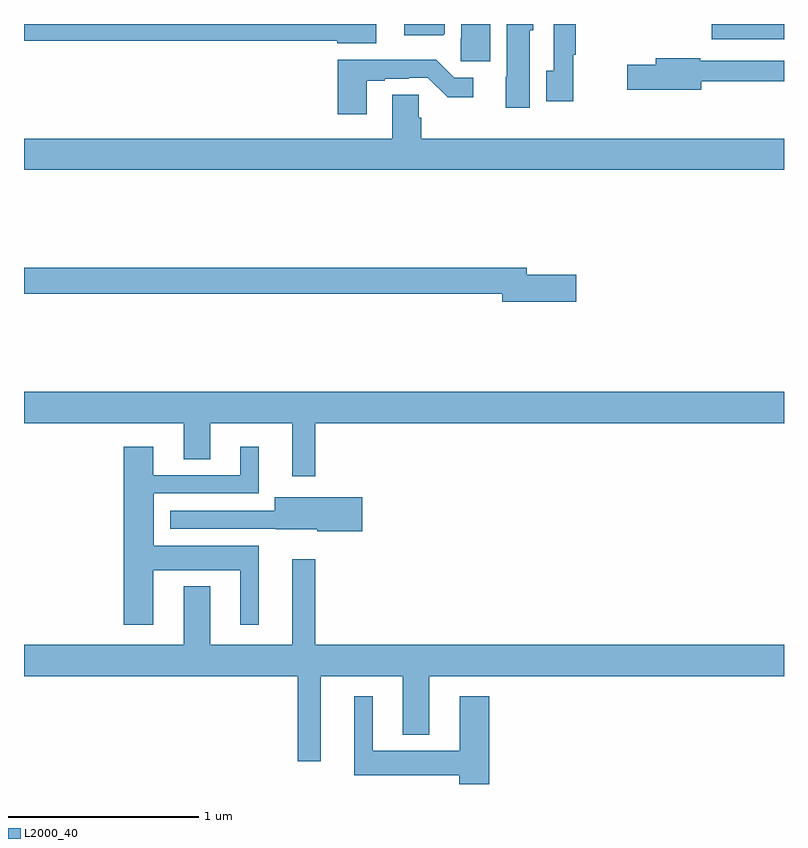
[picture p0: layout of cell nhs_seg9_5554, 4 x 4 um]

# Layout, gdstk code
import gdstk
lib = gdstk.Library(unit=1e-6, precision=1e-09)
def R(c, l, rs):  # rectangles x0, y0, x1, y1
    for r in rs: c.add(gdstk.rectangle(r[:2], r[2:], *l))
def P(c, l, *ps):  # polygons
    for p in ps: c.add(gdstk.Polygon(p, *l))
L2000_40 = (2000, 40)

nhs_seg9_5554 = lib.new_cell('nhs_seg9_5554')
R(nhs_seg9_5554, L2000_40, [(436.62,1218.419,437,1218.5)])
P(nhs_seg9_5554, L2000_40, [(435.661,1218.468),(435.679,1218.468),(435.679,1218.5),(435.542,1218.5),(435.542,1218.222),(435.536,1218.222),(435.536,1218.06),(435.661,1218.06)],
  [(435.454,1218.5),(435.302,1218.5),(435.302,1218.426),(435.298,1218.426),(435.298,1218.303),(435.454,1218.303)],
  [(435.214,1218.448),(435.214,1218.5),(435.002,1218.5),(435.002,1218.44),(435.206,1218.44)],
  [(434.854,1218.5),(433,1218.5),(433,1218.412),(434.648,1218.412),(434.648,1218.398),(434.854,1218.398)],
  [(435.89,1218.337),(435.905,1218.337),(435.905,1218.5),(435.789,1218.5),(435.789,1218.254),(435.749,1218.254),(435.749,1218.093),(435.89,1218.093)],
  [(436.564,1218.198),(437,1218.198),(437,1218.306),(436.56,1218.306),(436.56,1218.319),(436.325,1218.319),(436.325,1218.285),(436.176,1218.285),(436.176,1218.155),(436.564,1218.155)],
  [(434.803,1218.201),(434.899,1218.201),(434.899,1218.213),(435.026,1218.213),(435.026,1218.216),(435.126,1218.216),(435.229,1218.114),(435.364,1218.114),(435.364,1218.216),(435.264,1218.216),(435.169,1218.311),(434.651,1218.311),(434.651,1218.024),(434.803,1218.024)],
  [(437,1217.896),(435.092,1217.896),(435.092,1218.006),(435.078,1218.006),(435.078,1218.128),(434.939,1218.128),(434.939,1217.896),(433,1217.896),(433,1217.732),(437,1217.732)],
  [(435.907,1217.18),(435.646,1217.18),(435.646,1217.216),(433,1217.216),(433,1217.08),(435.518,1217.08),(435.518,1217.038),(435.907,1217.038)],
  [(434.533,1216.4),(437,1216.4),(437,1216.564),(433,1216.564),(433,1216.4),(433.841,1216.4),(433.841,1216.21),(433.981,1216.21),(433.981,1216.4),(434.411,1216.4),(434.411,1216.119),(434.533,1216.119)],
  [(433.681,1215.626),(434.138,1215.626),(434.138,1215.339),(434.236,1215.339),(434.236,1215.754),(433.684,1215.754),(433.684,1216.029),(434.236,1216.029),(434.236,1216.276),(434.138,1216.276),(434.138,1216.125),(433.681,1216.125),(433.681,1216.276),(433.526,1216.276),(433.526,1215.339),(433.681,1215.339)],
  [(434.779,1216.008),(434.321,1216.008),(434.321,1215.939),(433.769,1215.939),(433.769,1215.843),(434.325,1215.843),(434.325,1215.842),(434.544,1215.842),(434.544,1215.83),(434.779,1215.83)],
  [(434.563,1215.068),(434.993,1215.068),(434.993,1214.759),(435.133,1214.759),(435.133,1215.068),(437,1215.068),(437,1215.232),(434.533,1215.232),(434.533,1215.682),(434.411,1215.682),(434.411,1215.232),(433.981,1215.232),(433.981,1215.541),(433.841,1215.541),(433.841,1215.232),(433,1215.232),(433,1215.068),(434.442,1215.068),(434.442,1214.619),(434.563,1214.619)],
  [(435.449,1214.962),(435.293,1214.962),(435.293,1214.674),(434.836,1214.674),(434.836,1214.962),(434.738,1214.962),(434.738,1214.546),(435.29,1214.546),(435.29,1214.5),(435.449,1214.5)])

lib.write_gds('nhs_seg9_5554.gds')
